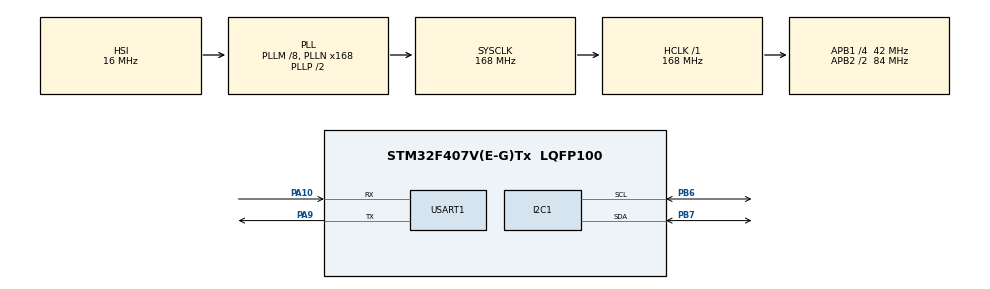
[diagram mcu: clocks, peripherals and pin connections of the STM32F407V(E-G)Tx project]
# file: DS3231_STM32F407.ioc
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FREERTOS.Queues01=myQueue01,32,uint8_t,0,Dynamic,NULL,NULL
FREERTOS.Tasks01=Task2,0,128,StartDefaultTask,Default,NULL,Dynamic,NULL,NULL;Task1,-2,128,StartTask02,Default,NULL,Dynamic,NULL,NULL;Task3,-3,128,StartTask03,Default,NULL,Dynamic,NULL,NULL
Mcu.Family=STM32F4
Mcu.Name=STM32F407V(E-G)Tx
Mcu.Package=LQFP100
NVIC.I2C1_ER_IRQn=true\:5\:0\:false\:false\:true\:true\:true\:true\:true
NVIC.I2C1_EV_IRQn=true\:5\:0\:false\:false\:true\:true\:true\:true\:true
NVIC.PriorityGroup=NVIC_PRIORITYGROUP_4
PA10.Mode=Asynchronous
PA10.Signal=USART1_RX
PA13.Mode=Serial_Wire
PA13.Signal=SYS_JTMS-SWDIO
PA14.Mode=Serial_Wire
PA14.Signal=SYS_JTCK-SWCLK
PA9.Mode=Asynchronous
PA9.Signal=USART1_TX
PB6.Mode=I2C
PB6.Signal=I2C1_SCL
PB7.Mode=I2C
PB7.Signal=I2C1_SDA
PH0-OSC_IN.Mode=HSE-External-Oscillator
PH0-OSC_IN.Signal=RCC_OSC_IN
PH1-OSC_OUT.Mode=HSE-External-Oscillator
PH1-OSC_OUT.Signal=RCC_OSC_OUT
ProjectManager.HeapSize=0x200
ProjectManager.StackSize=0x400
ProjectManager.TargetToolchain=STM32CubeIDE
RCC.48MHZClocksFreq_Value=84000000
RCC.AHBFreq_Value=168000000
RCC.APB1CLKDivider=RCC_HCLK_DIV4
RCC.APB1Freq_Value=42000000
RCC.APB1TimFreq_Value=84000000
RCC.APB2CLKDivider=RCC_HCLK_DIV2
RCC.APB2Freq_Value=84000000
RCC.APB2TimFreq_Value=168000000
RCC.CortexFreq_Value=168000000
RCC.HCLKFreq_Value=168000000
RCC.HSE_VALUE=25000000
RCC.HSI_VALUE=16000000
RCC.LSE_VALUE=32768
RCC.PLLM=8
RCC.PLLN=168
RCC.SYSCLKFreq_VALUE=168000000
RCC.SYSCLKSource=RCC_SYSCLKSOURCE_PLLCLK
RCC.VCOOutputFreq_Value=336000000
USART1.VirtualMode=VM_ASYNC
VP_FREERTOS_VS_CMSIS_V1.Mode=CMSIS_V1
board=custom

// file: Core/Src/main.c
/* USER CODE BEGIN Header */
/**
  ******************************************************************************
  * @file           : main.c
  * @brief          : Main program body
  ******************************************************************************
  * @attention
  *
  * Copyright (c) 2025 STMicroelectronics.
  * All rights reserved.
  *
  * This software is licensed under terms that can be found in the LICENSE file
  * in the root directory of this software component.
  * If no LICENSE file comes with this software, it is provided AS-IS.
  *
  ******************************************************************************
  */
/* USER CODE END Header */
#include "main.h"
#include "cmsis_os.h"

/* USER CODE BEGIN Includes */
#include <stdio.h>
#include <string.h>
/* USER CODE END Includes */

/* USER CODE BEGIN PD */
#define DS3231_ADDR 0x68<<1
/* USER CODE END PD */

I2C_HandleTypeDef hi2c1;

UART_HandleTypeDef huart1;

osThreadId Task2Handle;
osThreadId Task1Handle;
osThreadId Task3Handle;
osMessageQId myQueue01Handle;
/* USER CODE BEGIN PV */
uint8_t u8_revBuffer[7];
uint8_t u8_tranBuffer[7];
char uartBuf[128];
uint8_t uartRxData;
typedef struct{
	uint8_t hour;
	uint8_t min;
	uint8_t sec;
	uint8_t date;
	uint8_t day;
	uint8_t month;
	uint8_t year;
}DS3231_typedef;
DS3231_typedef DS3231_TimeNow;
/* USER CODE END PV */

void SystemClock_Config(void);
static void MX_GPIO_Init(void);
static void MX_I2C1_Init(void);
static void MX_USART1_UART_Init(void);
void StartDefaultTask(void const * argument);
void StartTask02(void const * argument);
void StartTask03(void const * argument);

/* USER CODE BEGIN 0 */
uint8_t BCD2DEC(uint8_t data){
	return (data>>4)*10 + (data&0x0f);
}

uint8_t DEC2BCD(uint8_t data){
	return (data/10)<<4|(data%10);
}

void setTime(int sec, int min, int hour, int day, int date, int month, int year){
	  // Set time
	  u8_tranBuffer[0] = DEC2BCD(sec);
	  u8_tranBuffer[1] = DEC2BCD(min);
	  u8_tranBuffer[2] = DEC2BCD(hour);

	  // Set date
	  u8_tranBuffer[3] = DEC2BCD(day);
	  u8_tranBuffer[4] = DEC2BCD(date);
	  u8_tranBuffer[5] = DEC2BCD(month);
	  u8_tranBuffer[6] = DEC2BCD(year);

	  HAL_I2C_Mem_Write_IT(&hi2c1, DS3231_ADDR, 0x00, I2C_MEMADD_SIZE_8BIT, u8_tranBuffer,7);
}

void HAL_I2C_MemRxCpltCallback(I2C_HandleTypeDef *hi2c)
{
  /* Prevent unused argument(s) compilation warning */
  UNUSED(hi2c);

  if(hi2c->Instance == I2C1){
    // Lấy giá trị giây, phút, giờ, ngày, tháng, năm từ bộ đệm
    DS3231_TimeNow.sec = BCD2DEC(u8_revBuffer[0] & 0x7F); // Giữ lại chỉ 7 bit thấp của giây
    DS3231_TimeNow.min = BCD2DEC(u8_revBuffer[1]);
    DS3231_TimeNow.hour = BCD2DEC(u8_revBuffer[2]);

    DS3231_TimeNow.day = BCD2DEC(u8_revBuffer[3]);
    DS3231_TimeNow.date = BCD2DEC(u8_revBuffer[4]);
    DS3231_TimeNow.month = BCD2DEC(u8_revBuffer[5]);
    DS3231_TimeNow.year = BCD2DEC(u8_revBuffer[6]);
  }

  /* NOTE : This function should not be modified, when the callback is needed,
            the HAL_I2C_MemRxCpltCallback could be implemented in the user file
   */
}

int __io_putchar(int ch)
{
    HAL_UART_Transmit(&huart1, (uint8_t *)&ch, 1, HAL_MAX_DELAY);
    return ch;
}
/* USER CODE END 0 */

int main(void)
{

  /* MCU Configuration--------------------------------------------------------*/

  /* Reset of all peripherals, Initializes the Flash interface and the Systick. */
  HAL_Init();

  /* Configure the system clock */
  SystemClock_Config();

  /* Initialize all configured peripherals */
  MX_GPIO_Init();
  MX_I2C1_Init();
  MX_USART1_UART_Init();
  /* USER CODE BEGIN 2 */

//  setTime(00, 34, 22, 3, 12, 02, 25);

  /* USER CODE END 2 */

  /* Create the queue(s) */
  /* definition and creation of myQueue01 */
  osMessageQDef(myQueue01, 32, uint8_t);
  myQueue01Handle = osMessageCreate(osMessageQ(myQueue01), NULL);

  /* Create the thread(s) */
  /* definition and creation of Task2 */
  osThreadDef(Task2, StartDefaultTask, osPriorityBelowNormal, 0, 128);
  Task2Handle = osThreadCreate(osThread(Task2), NULL);

  /* definition and creation of Task1 */
  osThreadDef(Task1, StartTask02, osPriorityNormal, 0, 128);
  Task1Handle = osThreadCreate(osThread(Task1), NULL);

  /* definition and creation of Task3 */
  osThreadDef(Task3, StartTask03, osPriorityNormal, 0, 128);
  Task3Handle = osThreadCreate(osThread(Task3), NULL);

  HAL_I2C_Mem_Read_IT(&hi2c1, DS3231_ADDR, 0x00, I2C_MEMADD_SIZE_8BIT, u8_revBuffer, 7);
  osMessagePut(myQueue01Handle, (uint32_t)&u8_revBuffer, 10);
  /* Start scheduler */
  osKernelStart();

  /* We should never get here as control is now taken by the scheduler */

  /* Infinite loop */
  while (1)
  {

  }
}

void SystemClock_Config(void)
{
  RCC_OscInitTypeDef RCC_OscInitStruct = {0};
  RCC_ClkInitTypeDef RCC_ClkInitStruct = {0};

  /** Configure the main internal regulator output voltage
  */
  __HAL_RCC_PWR_CLK_ENABLE();
  __HAL_PWR_VOLTAGESCALING_CONFIG(PWR_REGULATOR_VOLTAGE_SCALE1);

  /** Initializes the RCC Oscillators according to the specified parameters
  * in the RCC_OscInitTypeDef structure.
  */
  RCC_OscInitStruct.OscillatorType = RCC_OSCILLATORTYPE_HSI;
  RCC_OscInitStruct.HSIState = RCC_HSI_ON;
  RCC_OscInitStruct.HSICalibrationValue = RCC_HSICALIBRATION_DEFAULT;
  RCC_OscInitStruct.PLL.PLLState = RCC_PLL_ON;
  RCC_OscInitStruct.PLL.PLLSource = RCC_PLLSOURCE_HSI;
  RCC_OscInitStruct.PLL.PLLM = 8;
  RCC_OscInitStruct.PLL.PLLN = 168;
  RCC_OscInitStruct.PLL.PLLP = RCC_PLLP_DIV2;
  RCC_OscInitStruct.PLL.PLLQ = 4;
  if (HAL_RCC_OscConfig(&RCC_OscInitStruct) != HAL_OK)
  {
    Error_Handler();
  }

  /** Initializes the CPU, AHB and APB buses clocks
  */
  RCC_ClkInitStruct.ClockType = RCC_CLOCKTYPE_HCLK|RCC_CLOCKTYPE_SYSCLK
                              |RCC_CLOCKTYPE_PCLK1|RCC_CLOCKTYPE_PCLK2;
  RCC_ClkInitStruct.SYSCLKSource = RCC_SYSCLKSOURCE_PLLCLK;
  RCC_ClkInitStruct.AHBCLKDivider = RCC_SYSCLK_DIV1;
  RCC_ClkInitStruct.APB1CLKDivider = RCC_HCLK_DIV4;
  RCC_ClkInitStruct.APB2CLKDivider = RCC_HCLK_DIV2;

  if (HAL_RCC_ClockConfig(&RCC_ClkInitStruct, FLASH_LATENCY_5) != HAL_OK)
  {
    Error_Handler();
  }
}

static void MX_I2C1_Init(void)
{

  hi2c1.Instance = I2C1;
  hi2c1.Init.ClockSpeed = 100000;
  hi2c1.Init.DutyCycle = I2C_DUTYCYCLE_2;
  hi2c1.Init.OwnAddress1 = 0;
  hi2c1.Init.AddressingMode = I2C_ADDRESSINGMODE_7BIT;
  hi2c1.Init.DualAddressMode = I2C_DUALADDRESS_DISABLE;
  hi2c1.Init.OwnAddress2 = 0;
  hi2c1.Init.GeneralCallMode = I2C_GENERALCALL_DISABLE;
  hi2c1.Init.NoStretchMode = I2C_NOSTRETCH_DISABLE;
  if (HAL_I2C_Init(&hi2c1) != HAL_OK)
  {
    Error_Handler();
  }

}

static void MX_USART1_UART_Init(void)
{

  huart1.Instance = USART1;
  huart1.Init.BaudRate = 115200;
  huart1.Init.WordLength = UART_WORDLENGTH_8B;
  huart1.Init.StopBits = UART_STOPBITS_1;
  huart1.Init.Parity = UART_PARITY_NONE;
  huart1.Init.Mode = UART_MODE_TX_RX;
  huart1.Init.HwFlowCtl = UART_HWCONTROL_NONE;
  huart1.Init.OverSampling = UART_OVERSAMPLING_16;
  if (HAL_UART_Init(&huart1) != HAL_OK)
  {
    Error_Handler();
  }

}

static void MX_GPIO_Init(void)
{

  /* GPIO Ports Clock Enable */
  __HAL_RCC_GPIOH_CLK_ENABLE();
  __HAL_RCC_GPIOA_CLK_ENABLE();
  __HAL_RCC_GPIOB_CLK_ENABLE();

}

void StartDefaultTask(void const * argument)
{
  /* USER CODE BEGIN 5 */
  /* Infinite loop */
  for(;;)
  {
	HAL_I2C_Mem_Read_IT(&hi2c1, DS3231_ADDR, 0x00, I2C_MEMADD_SIZE_8BIT, u8_revBuffer, 7);
	osMessagePut(myQueue01Handle, (uint32_t)&u8_revBuffer, 10);
	osDelay(50);
  }
  /* USER CODE END 5 */
}

void StartTask02(void const * argument)
{
  /* USER CODE BEGIN StartTask02 */
  /* Infinite loop */
  for(;;)
  {
      if (HAL_UART_Receive(&huart1, &uartRxData, 1, HAL_MAX_DELAY) == HAL_OK) {
          osMessagePut(myQueue01Handle, uartRxData, osWaitForever);
      }
      osDelay(50);
  }
  /* USER CODE END StartTask02 */
}

void StartTask03(void const * argument)
{
  uint32_t lastReceivedTick = osKernelSysTick();
  osEvent event;
  /* USER CODE BEGIN StartTask03 */
  /* Infinite loop */
  for(;;)
  {
	event = osMessageGet(myQueue01Handle, 0);
	if (event.status == osEventMessage) {
		lastReceivedTick = osKernelSysTick();
		uint8_t receivedChar = event.value.v;

		if (receivedChar == 'D') { // Nếu ấn ký tự D (Date) từ bàn phím: Sẽ hiển thị Ngày:Tháng:Năm
			snprintf(uartBuf, sizeof(uartBuf), "(Pressed D)=> Display only Date, Day: %02d/%02d/%04d (Day: %d)\r\n", // format DD:MM:YYYY
					DS3231_TimeNow.date, DS3231_TimeNow.month, DS3231_TimeNow.year, DS3231_TimeNow.day);
			HAL_UART_Transmit(&huart1, (uint8_t *)uartBuf, strlen(uartBuf), HAL_MAX_DELAY);
		} else if (receivedChar == 'T') { // Nếu ấn ký tự T (Time) từ bàn phím: Sẽ hiển thị Giờ:Phút:Giây
			snprintf(uartBuf, sizeof(uartBuf), "(Pressed T)=> Display only Time: %02d:%02d:%02d\r\n", // format hh:mm:ss
					DS3231_TimeNow.hour, DS3231_TimeNow.min, DS3231_TimeNow.sec);
			HAL_UART_Transmit(&huart1, (uint8_t *)uartBuf, strlen(uartBuf), HAL_MAX_DELAY);
		}
	}

	// Nhận dữ liệu từ Queue thời gian
	event = osMessageGet(myQueue01Handle, 0);
	if (event.status != osEventMessage) {
// Nếu không ấn phím nào kể từ lần ấn gần nhất 2 giây, hiển thị toàn bộ thông tin Ngày:Tháng:Năm Giờ:Phút:Giây
		if (osKernelSysTick() - lastReceivedTick > 2000) {
			snprintf(uartBuf, sizeof(uartBuf), "(No key pressed)=> Auto display Full (Date, Time, Day): %02d/%02d/%04d %02d:%02d:%02d (Day: %d)\r\n",
					DS3231_TimeNow.date, DS3231_TimeNow.month, DS3231_TimeNow.year,
					DS3231_TimeNow.hour, DS3231_TimeNow.min, DS3231_TimeNow.sec, DS3231_TimeNow.day);
			HAL_UART_Transmit(&huart1, (uint8_t *)uartBuf, strlen(uartBuf), HAL_MAX_DELAY);
			lastReceivedTick = osKernelSysTick();
		}
	}

	osDelay(50);
  }
  /* USER CODE END StartTask03 */
}

void Error_Handler(void)
{
  __disable_irq();
  while (1)
  {
  }
}
